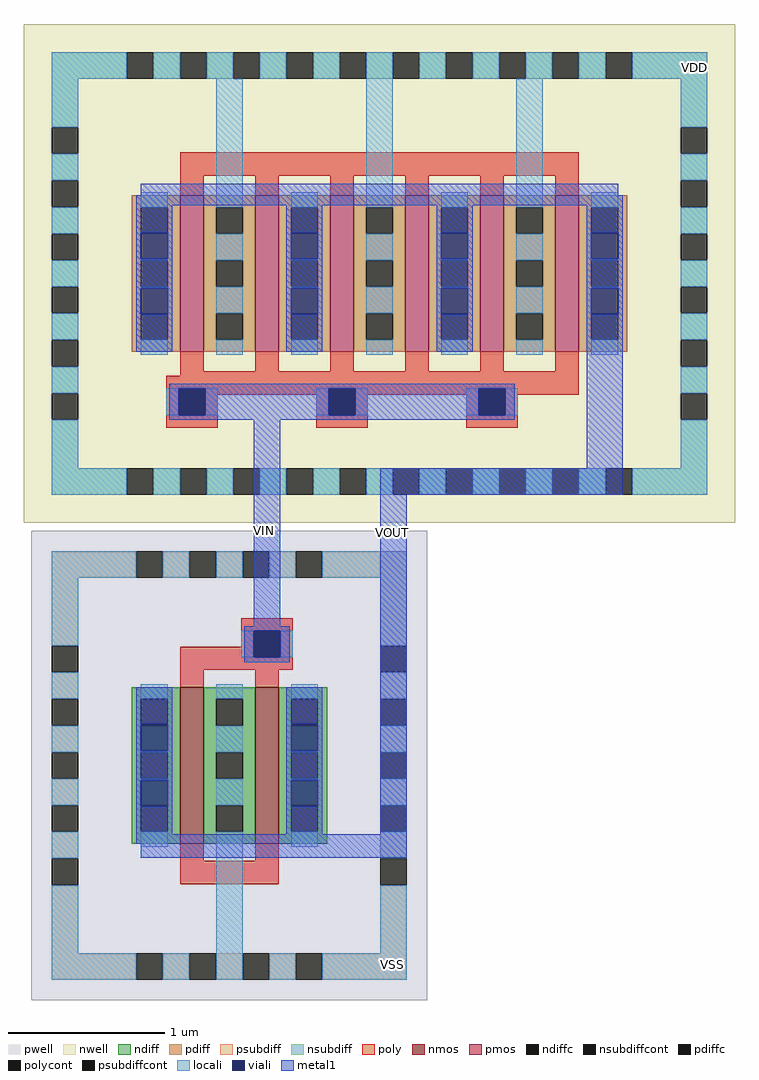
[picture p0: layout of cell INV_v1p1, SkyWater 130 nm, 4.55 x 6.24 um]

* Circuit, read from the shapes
.subckt INV_v1p1 VIN VOUT VDD VSS
XM1 VSS VIN VOUT VSS sky130_fd_pr__nfet_01v8 w=1 l=0.15 m=2
XM2 VDD VIN VOUT VDD sky130_fd_pr__pfet_01v8 w=1 l=0.15 m=6
.ends

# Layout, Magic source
magic
tech sky130A
magscale 1 2
<< nwell >>
rect 1366 442 2276 1080
<< pwell >>
rect 1376 -168 1882 432
<< nmos >>
rect 1566 32 1596 232
rect 1662 32 1692 232
<< pmos >>
rect 1566 661 1596 861
rect 1662 661 1692 861
rect 1758 661 1788 861
rect 1854 661 1884 861
rect 1950 661 1980 861
rect 2046 661 2076 861
<< ndiff >>
rect 1504 217 1566 232
rect 1504 183 1516 217
rect 1550 183 1566 217
rect 1504 149 1566 183
rect 1504 115 1516 149
rect 1550 115 1566 149
rect 1504 81 1566 115
rect 1504 47 1516 81
rect 1550 47 1566 81
rect 1504 32 1566 47
rect 1596 217 1662 232
rect 1596 183 1612 217
rect 1646 183 1662 217
rect 1596 149 1662 183
rect 1596 115 1612 149
rect 1646 115 1662 149
rect 1596 81 1662 115
rect 1596 47 1612 81
rect 1646 47 1662 81
rect 1596 32 1662 47
rect 1692 217 1754 232
rect 1692 183 1708 217
rect 1742 183 1754 217
rect 1692 149 1754 183
rect 1692 115 1708 149
rect 1742 115 1754 149
rect 1692 81 1754 115
rect 1692 47 1708 81
rect 1742 47 1754 81
rect 1692 32 1754 47
<< pdiff >>
rect 1504 846 1566 861
rect 1504 812 1516 846
rect 1550 812 1566 846
rect 1504 778 1566 812
rect 1504 744 1516 778
rect 1550 744 1566 778
rect 1504 710 1566 744
rect 1504 676 1516 710
rect 1550 676 1566 710
rect 1504 661 1566 676
rect 1596 846 1662 861
rect 1596 812 1612 846
rect 1646 812 1662 846
rect 1596 778 1662 812
rect 1596 744 1612 778
rect 1646 744 1662 778
rect 1596 710 1662 744
rect 1596 676 1612 710
rect 1646 676 1662 710
rect 1596 661 1662 676
rect 1692 846 1758 861
rect 1692 812 1708 846
rect 1742 812 1758 846
rect 1692 778 1758 812
rect 1692 744 1708 778
rect 1742 744 1758 778
rect 1692 710 1758 744
rect 1692 676 1708 710
rect 1742 676 1758 710
rect 1692 661 1758 676
rect 1788 846 1854 861
rect 1788 812 1804 846
rect 1838 812 1854 846
rect 1788 778 1854 812
rect 1788 744 1804 778
rect 1838 744 1854 778
rect 1788 710 1854 744
rect 1788 676 1804 710
rect 1838 676 1854 710
rect 1788 661 1854 676
rect 1884 846 1950 861
rect 1884 812 1900 846
rect 1934 812 1950 846
rect 1884 778 1950 812
rect 1884 744 1900 778
rect 1934 744 1950 778
rect 1884 710 1950 744
rect 1884 676 1900 710
rect 1934 676 1950 710
rect 1884 661 1950 676
rect 1980 846 2046 861
rect 1980 812 1996 846
rect 2030 812 2046 846
rect 1980 778 2046 812
rect 1980 744 1996 778
rect 2030 744 2046 778
rect 1980 710 2046 744
rect 1980 676 1996 710
rect 2030 676 2046 710
rect 1980 661 2046 676
rect 2076 846 2138 861
rect 2076 812 2092 846
rect 2126 812 2138 846
rect 2076 778 2138 812
rect 2076 744 2092 778
rect 2126 744 2138 778
rect 2076 710 2138 744
rect 2076 676 2092 710
rect 2126 676 2138 710
rect 2076 661 2138 676
<< ndiffc >>
rect 1516 183 1550 217
rect 1516 115 1550 149
rect 1516 47 1550 81
rect 1612 183 1646 217
rect 1612 115 1646 149
rect 1612 47 1646 81
rect 1708 183 1742 217
rect 1708 115 1742 149
rect 1708 47 1742 81
<< pdiffc >>
rect 1516 812 1550 846
rect 1516 744 1550 778
rect 1516 676 1550 710
rect 1612 812 1646 846
rect 1612 744 1646 778
rect 1612 676 1646 710
rect 1708 812 1742 846
rect 1708 744 1742 778
rect 1708 676 1742 710
rect 1804 812 1838 846
rect 1804 744 1838 778
rect 1804 676 1838 710
rect 1900 812 1934 846
rect 1900 744 1934 778
rect 1900 676 1934 710
rect 1996 812 2030 846
rect 1996 744 2030 778
rect 1996 676 2030 710
rect 2092 812 2126 846
rect 2092 744 2126 778
rect 2092 676 2126 710
<< psubdiff >>
rect 1402 372 1510 406
rect 1544 372 1578 406
rect 1612 372 1646 406
rect 1680 372 1714 406
rect 1748 372 1856 406
rect 1402 285 1436 372
rect 1402 217 1436 251
rect 1822 285 1856 372
rect 1402 149 1436 183
rect 1402 81 1436 115
rect 1402 13 1436 47
rect 1822 217 1856 251
rect 1822 149 1856 183
rect 1822 81 1856 115
rect 1822 13 1856 47
rect 1402 -108 1436 -21
rect 1822 -108 1856 -21
rect 1402 -142 1510 -108
rect 1544 -142 1578 -108
rect 1612 -142 1646 -108
rect 1680 -142 1714 -108
rect 1748 -142 1856 -108
<< nsubdiff >>
rect 1402 1010 1498 1044
rect 1532 1010 1566 1044
rect 1600 1010 1634 1044
rect 1668 1010 1702 1044
rect 1736 1010 1770 1044
rect 1804 1010 1838 1044
rect 1872 1010 1906 1044
rect 1940 1010 1974 1044
rect 2008 1010 2042 1044
rect 2076 1010 2110 1044
rect 2144 1010 2240 1044
rect 1402 948 1436 1010
rect 2206 948 2240 1010
rect 1402 880 1436 914
rect 2206 880 2240 914
rect 1402 812 1436 846
rect 1402 744 1436 778
rect 1402 676 1436 710
rect 2206 812 2240 846
rect 2206 744 2240 778
rect 2206 676 2240 710
rect 1402 608 1436 642
rect 1402 512 1436 574
rect 2206 608 2240 642
rect 2206 512 2240 574
rect 1402 478 1498 512
rect 1532 478 1566 512
rect 1600 478 1634 512
rect 1668 478 1702 512
rect 1736 478 1770 512
rect 1804 478 1838 512
rect 1872 478 1906 512
rect 1940 478 1974 512
rect 2008 478 2042 512
rect 2076 478 2110 512
rect 2144 478 2240 512
<< psubdiffcont >>
rect 1510 372 1544 406
rect 1578 372 1612 406
rect 1646 372 1680 406
rect 1714 372 1748 406
rect 1402 251 1436 285
rect 1822 251 1856 285
rect 1402 183 1436 217
rect 1402 115 1436 149
rect 1402 47 1436 81
rect 1822 183 1856 217
rect 1822 115 1856 149
rect 1822 47 1856 81
rect 1402 -21 1436 13
rect 1822 -21 1856 13
rect 1510 -142 1544 -108
rect 1578 -142 1612 -108
rect 1646 -142 1680 -108
rect 1714 -142 1748 -108
<< nsubdiffcont >>
rect 1498 1010 1532 1044
rect 1566 1010 1600 1044
rect 1634 1010 1668 1044
rect 1702 1010 1736 1044
rect 1770 1010 1804 1044
rect 1838 1010 1872 1044
rect 1906 1010 1940 1044
rect 1974 1010 2008 1044
rect 2042 1010 2076 1044
rect 2110 1010 2144 1044
rect 1402 914 1436 948
rect 1402 846 1436 880
rect 2206 914 2240 948
rect 1402 778 1436 812
rect 1402 710 1436 744
rect 1402 642 1436 676
rect 2206 846 2240 880
rect 2206 778 2240 812
rect 2206 710 2240 744
rect 1402 574 1436 608
rect 2206 642 2240 676
rect 2206 574 2240 608
rect 1498 478 1532 512
rect 1566 478 1600 512
rect 1634 478 1668 512
rect 1702 478 1736 512
rect 1770 478 1804 512
rect 1838 478 1872 512
rect 1906 478 1940 512
rect 1974 478 2008 512
rect 2042 478 2076 512
rect 2110 478 2144 512
<< poly >>
rect 1566 886 2076 916
rect 1566 861 1596 886
rect 1662 861 1692 886
rect 1758 861 1788 886
rect 1854 861 1884 886
rect 1950 861 1980 886
rect 2046 861 2076 886
rect 1566 636 1596 661
rect 1662 636 1692 661
rect 1758 636 1788 661
rect 1854 636 1884 661
rect 1950 636 1980 661
rect 2046 636 2076 661
rect 1566 630 2076 636
rect 1548 614 2076 630
rect 1548 580 1564 614
rect 1598 606 1756 614
rect 1598 580 1614 606
rect 1548 564 1614 580
rect 1740 580 1756 606
rect 1790 606 1948 614
rect 1790 580 1806 606
rect 1740 564 1806 580
rect 1932 580 1948 606
rect 1982 606 2076 614
rect 1982 580 1998 606
rect 1932 564 1998 580
rect 1644 304 1710 320
rect 1644 284 1660 304
rect 1566 270 1660 284
rect 1694 270 1710 304
rect 1566 254 1710 270
rect 1566 232 1596 254
rect 1662 232 1692 254
rect 1566 10 1596 32
rect 1662 10 1692 32
rect 1566 -20 1692 10
<< polycont >>
rect 1564 580 1598 614
rect 1756 580 1790 614
rect 1948 580 1982 614
rect 1660 270 1694 304
<< locali >>
rect 1402 1010 1498 1044
rect 1532 1010 1566 1044
rect 1600 1010 1634 1044
rect 1668 1010 1702 1044
rect 1736 1010 1770 1044
rect 1402 948 1436 1010
rect 1402 880 1436 914
rect 1402 812 1436 846
rect 1402 744 1436 778
rect 1402 676 1436 710
rect 1516 846 1550 865
rect 1516 778 1550 780
rect 1516 742 1550 744
rect 1516 657 1550 676
rect 1612 846 1646 1010
rect 1612 778 1646 812
rect 1612 710 1646 744
rect 1612 657 1646 676
rect 1708 846 1742 865
rect 1708 778 1742 780
rect 1708 742 1742 744
rect 1708 657 1742 676
rect 1804 846 1838 1044
rect 1872 1010 1906 1044
rect 1940 1010 1974 1044
rect 2008 1010 2042 1044
rect 2076 1010 2110 1044
rect 2144 1010 2240 1044
rect 1804 778 1838 812
rect 1804 710 1838 744
rect 1804 657 1838 676
rect 1900 846 1934 865
rect 1900 778 1934 780
rect 1900 742 1934 744
rect 1900 657 1934 676
rect 1996 846 2030 1010
rect 2206 948 2240 1010
rect 2206 880 2240 914
rect 1996 778 2030 812
rect 1996 710 2030 744
rect 1996 657 2030 676
rect 2092 846 2126 865
rect 2092 778 2126 780
rect 2092 742 2126 744
rect 2092 657 2126 676
rect 2206 812 2240 846
rect 2206 744 2240 778
rect 2206 676 2240 710
rect 1402 608 1436 642
rect 1548 580 1564 614
rect 1598 580 1614 614
rect 1740 580 1756 614
rect 1790 580 1806 614
rect 1932 580 1948 614
rect 1982 580 1998 614
rect 2206 608 2240 642
rect 1402 512 1436 574
rect 2206 512 2240 574
rect 1402 478 1498 512
rect 1532 478 1566 512
rect 1600 478 1634 512
rect 1668 478 1702 512
rect 1736 478 1770 512
rect 1804 478 1838 512
rect 1872 478 1906 512
rect 1940 478 1974 512
rect 2008 478 2042 512
rect 2076 478 2110 512
rect 2144 478 2240 512
rect 1402 372 1510 406
rect 1544 372 1578 406
rect 1612 372 1646 406
rect 1680 372 1714 406
rect 1748 372 1856 406
rect 1402 285 1436 372
rect 1644 270 1660 304
rect 1694 270 1710 304
rect 1822 285 1856 372
rect 1402 217 1436 251
rect 1402 149 1436 183
rect 1402 81 1436 115
rect 1402 13 1436 47
rect 1516 217 1550 236
rect 1516 149 1550 151
rect 1516 113 1550 115
rect 1516 28 1550 47
rect 1612 217 1646 236
rect 1612 149 1646 183
rect 1612 81 1646 115
rect 1402 -108 1436 -21
rect 1402 -142 1510 -108
rect 1544 -142 1578 -108
rect 1612 -142 1646 47
rect 1708 217 1742 236
rect 1708 149 1742 151
rect 1708 113 1742 115
rect 1708 28 1742 47
rect 1822 217 1856 251
rect 1822 149 1856 183
rect 1822 81 1856 115
rect 1822 13 1856 47
rect 1822 -108 1856 -21
rect 1680 -142 1714 -108
rect 1748 -142 1856 -108
<< viali >>
rect 1516 812 1550 814
rect 1516 780 1550 812
rect 1516 710 1550 742
rect 1516 708 1550 710
rect 1708 812 1742 814
rect 1708 780 1742 812
rect 1708 710 1742 742
rect 1708 708 1742 710
rect 1900 812 1934 814
rect 1900 780 1934 812
rect 1900 710 1934 742
rect 1900 708 1934 710
rect 2092 812 2126 814
rect 2092 780 2126 812
rect 2092 710 2126 742
rect 2092 708 2126 710
rect 1564 580 1598 614
rect 1756 580 1790 614
rect 1948 580 1982 614
rect 1660 270 1694 304
rect 1516 183 1550 185
rect 1516 151 1550 183
rect 1516 81 1550 113
rect 1516 79 1550 81
rect 1708 183 1742 185
rect 1708 151 1742 183
rect 1708 81 1742 113
rect 1708 79 1742 81
<< metal1 >>
rect 1516 861 2126 876
rect 1510 848 2132 861
rect 1510 814 1556 848
rect 1510 780 1516 814
rect 1550 780 1556 814
rect 1510 742 1556 780
rect 1510 708 1516 742
rect 1550 708 1556 742
rect 1510 661 1556 708
rect 1702 814 1748 848
rect 1702 780 1708 814
rect 1742 780 1748 814
rect 1702 742 1748 780
rect 1702 708 1708 742
rect 1742 708 1748 742
rect 1702 661 1748 708
rect 1894 814 1940 848
rect 1894 780 1900 814
rect 1934 780 1940 814
rect 1894 742 1940 780
rect 1894 708 1900 742
rect 1934 708 1940 742
rect 1894 661 1940 708
rect 2086 814 2132 848
rect 2086 780 2092 814
rect 2126 780 2132 814
rect 2086 742 2132 780
rect 2086 708 2092 742
rect 2126 708 2132 742
rect 1552 614 1994 620
rect 1552 580 1564 614
rect 1598 580 1756 614
rect 1790 580 1948 614
rect 1982 580 1994 614
rect 1552 574 1994 580
rect 1660 310 1694 574
rect 2086 512 2132 708
rect 1822 478 2132 512
rect 1648 304 1706 310
rect 1648 270 1660 304
rect 1694 270 1706 304
rect 1648 264 1706 270
rect 1510 185 1556 232
rect 1510 151 1516 185
rect 1550 151 1556 185
rect 1510 113 1556 151
rect 1510 79 1516 113
rect 1550 79 1556 113
rect 1510 44 1556 79
rect 1702 185 1748 232
rect 1702 151 1708 185
rect 1742 151 1748 185
rect 1702 113 1748 151
rect 1702 79 1708 113
rect 1742 79 1748 113
rect 1702 44 1748 79
rect 1822 44 1856 478
rect 1510 32 1856 44
rect 1516 14 1856 32
<< labels >>
rlabel metal1 s 1674 432 1674 432 4 VIN
port 1 nsew
rlabel metal1 s 1838 430 1838 430 4 VOUT
port 2 nsew
rlabel locali s 2224 1024 2224 1024 4 VDD
port 3 nsew
rlabel locali s 1838 -122 1838 -122 4 VSS
port 4 nsew
<< end >>
